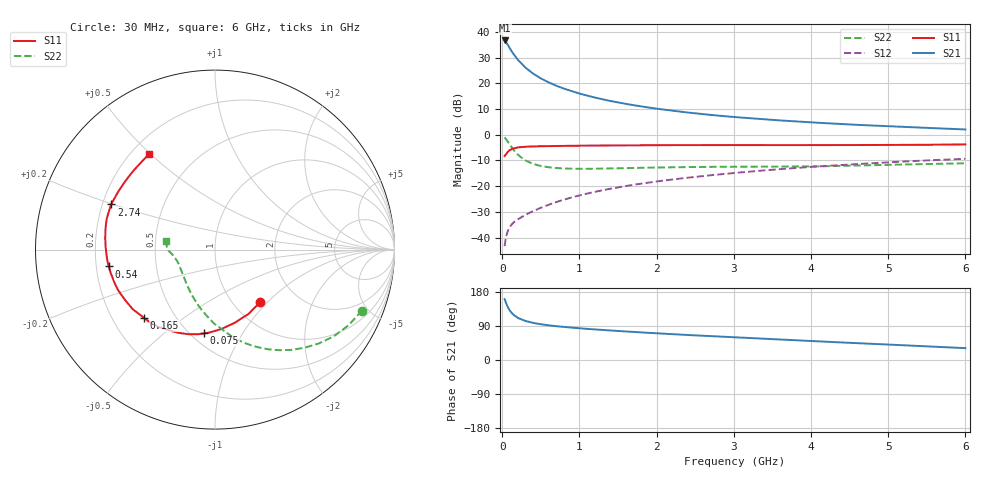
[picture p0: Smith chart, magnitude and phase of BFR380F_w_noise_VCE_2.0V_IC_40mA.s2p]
! Infineon Technologies  Discrete & RF Semiconductors
! BFR380F
! VCE =  2.0 V,  IC =  40 mA
! Common Emitter S-Parameters:  Nov 2015
# GHz  S  MA  R  50
!  f  S11  S21  S12  S22
! GHz  MAG  ANG  MAG  ANG  MAG  ANG  MAG  ANG
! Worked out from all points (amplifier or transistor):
!   206 points, 30 MHz to 6 GHz, reference 50 ohm
!   highest |S21| = 36.7 dB at 30 MHz (marker M1)
!   |S21| within 3 dB of that: start of sweep to 96.94 MHz
!   unconditionally stable (mu >= 1): 915.6 MHz to 5.013 GHz
!   at 200 MHz: K = 0.58, MSG = 31.1 dB, |S12| = -33.0 dB
!   at 1.56 GHz: K = 1.04, MAG = 15.0 dB, |S12| = -20.2 dB
!   at 6 GHz: K = 0.99, MSG = 5.7 dB, |S12| = -9.4 dB
!   lowest NFmin = 1.37 dB at 900 MHz
!   S11 on the Smith chart (normalised r, x): 30 MHz: 1.32, -0.91; 75 MHz: 0.58, -0.69; 165 MHz: 0.33, -0.36; 540 MHz: 0.25, -0.07; 2.74 GHz: 0.24, +0.20; 6 GHz: 0.27, +0.50
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0.03  0.3859 -49.3  68.13 160.7  0.0068 77.4  0.887 -22.5
0.05  0.4224 -74.9  62.79 149.2  0.0104 69.2  0.8195 -36.1
0.07  0.463 -93.7  56.29 140.0  0.0132 64.0  0.7404 -47.6
0.075  0.4708 -97.5  54.74 138.3  0.0137 62.6  0.7207 -50.1
0.1  0.5042 -112.7  47.4 129.9  0.0164 58.5  0.632 -61.6
0.12  0.5212 -121.9  42.4 124.6  0.0179 56.2  0.5714 -69.1
0.15  0.5443 -132.4  36.31 118.5  0.0199 54.8  0.4983 -78.5
0.165  0.5484 -136.0  34.02 116.7  0.0207 54.7  0.4704 -81.7
0.2  0.5661 -144.1  28.83 111.3  0.0225 54.4  0.4123 -90.7
0.24  0.5731 -150.0  24.82 107.6  0.0245 55.3  0.3664 -98.1
0.3  0.5847 -157.1  20.19 102.9  0.0276 57.0  0.3175 -108.3
0.4  0.5916 -164.5  15.42 97.8  0.0327 60.1  0.2719 -120.7
0.54  0.5992 -171.0  11.63 93.3  0.0402 63.6  0.241 -133.0
0.7  0.6045 -176.1  8.961 89.2  0.049 66.3  0.2252 -143.4
1.04  0.6113 176.7  6.081 83.1  0.0684 69.1  0.2172 -156.1
1.4  0.6185 171.1  4.531 77.9  0.089 70.1  0.2209 -163.6
2.02  0.6274 163.7  3.183 70.3  0.1244 69.5  0.2302 -169.1
2.74  0.6305 156.5  2.396 62.5  0.1651 67.6  0.2377 -172.6
3.1  0.6288 153.3  2.154 59.0  0.1856 66.3  0.2388 -173.3
4.1  0.6282 143.5  1.706 49.0  0.242 61.7  0.2429 -174.7
5.1  0.6333 134.1  1.441 39.8  0.2957 56.8  0.2618 -179.9
6  0.6479 124.4  1.265 31.3  0.3399 51.3  0.2786 169.8
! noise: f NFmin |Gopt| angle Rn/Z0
0.45  1.41  0.36  -176  0.08
0.9  1.37  0.39  -176  0.07
1.8  1.57  0.44  -164  0.08
1.9  1.66  0.45  -165  0.08
2.4  1.71  0.46  -156  0.11
3.5  2.31  0.51  -144  0.17
